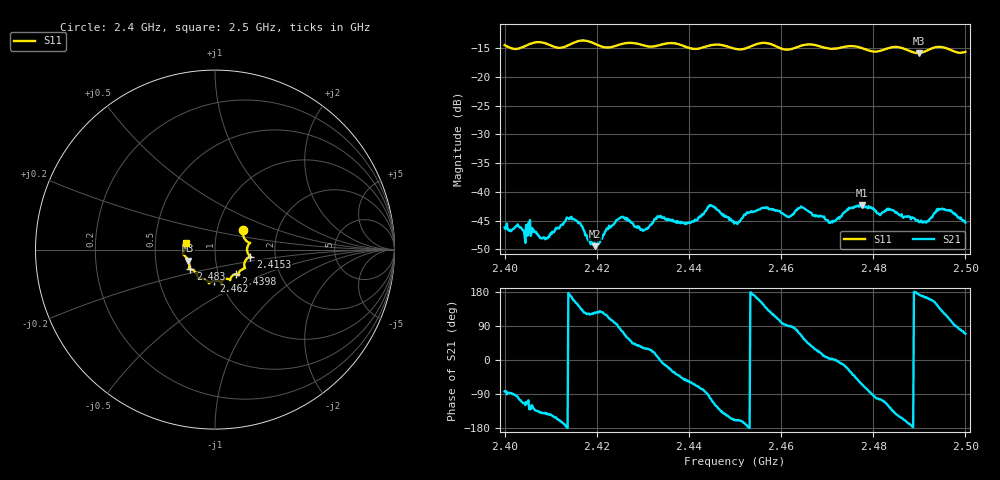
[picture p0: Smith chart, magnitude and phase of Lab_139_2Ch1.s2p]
# Hz S RI R 50
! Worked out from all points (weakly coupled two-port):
!   601 points, 2.4 GHz to 2.5 GHz, reference 50 ohm
!   highest |S21| = -42.28 dB at 2.4775 GHz (marker M1); lowest = -49.4 dB at 2.4197 GHz (marker M2)
!   lowest |S11| = -15.9 dB at 2.4898 GHz (marker M3), VSWR 1.38, Z = 36.8 - j4.62 ohm
!   |S11| at or under -10 dB: start of sweep to end of sweep
!   S12 and S22 are empty: the file has one direction only
!   S11 on the Smith chart (normalised r, x): 2.4 GHz: 1.33, +0.29; 2.4153 GHz: 1.48, -0.12; 2.4398 GHz: 1.21, -0.34; 2.462 GHz: 0.93, -0.33; 2.483 GHz: 0.74, -0.17; 2.5 GHz: 0.72, +0.06
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2.4e9  0.1552 0.1065  0.000601 -0.00487  0 0  0 0
2.408833e9  0.1924 0.0347  -0.00294 -0.00252  0 0  0 0
2.415333e9  0.1963 -0.0385  -0.00503 0.00259  0 0  0 0
2.416667e9  0.2019 -0.0426  -0.00345 0.0037  0 0  0 0
2.419667e9  0.1877 -0.0444  -0.00186 0.00281  0 0  0 0
2.425167e9  0.1652 -0.0967  0.000975 0.00589  0 0  0 0
2.43e9  0.153 -0.1098  0.00387 0.00245  0 0  0 0
2.433333e9  0.131 -0.1336  0.00606 0.00057  0 0  0 0
2.439833e9  0.1155 -0.1364  0.00298 -0.00451  0 0  0 0
2.444833e9  0.0847 -0.168  -0.00182 -0.00741  0 0  0 0
2.45e9  0.0647 -0.1626  -0.00507 -0.00195  0 0  0 0
2.456167e9  0.0385 -0.1931  -0.006 0.0041  0 0  0 0
2.462e9  -0.00494 -0.1732  1.75e-05 0.00615  0 0  0 0
2.464333e9  -0.0292 -0.1839  0.00316 0.00676  0 0  0 0
2.466667e9  -0.0342 -0.1875  0.00528 0.00377  0 0  0 0
2.470833e9  -0.0565 -0.1656  0.00541 0.000305  0 0  0 0
2.4775e9  -0.0971 -0.149  0.00335 -0.00693  0 0  0 0
2.483e9  -0.1375 -0.1095  -0.00328 -0.00631  0 0  0 0
2.483333e9  -0.1398 -0.1093  -0.00373 -0.00609  0 0  0 0
2.489833e9  -0.1485 -0.0611  -0.00545 0.000579  0 0  0 0
2.494667e9  -0.1803 -0.0206  -0.00482 0.00517  0 0  0 0
2.5e9  -0.16 0.0391  0.0019 0.00506  0 0  0 0
